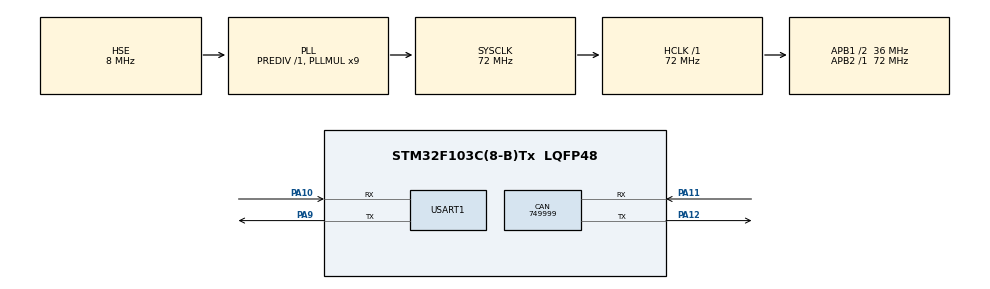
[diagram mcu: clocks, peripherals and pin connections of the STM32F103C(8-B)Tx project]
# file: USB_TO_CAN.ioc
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CAN.CalculateBaudRate=749999
CAN.CalculateTimeBit=1333
CAN.CalculateTimeQuantum=444.44444444444446
Mcu.Family=STM32F1
Mcu.Name=STM32F103C(8-B)Tx
Mcu.Package=LQFP48
NVIC.PriorityGroup=NVIC_PRIORITYGROUP_4
PA10.Mode=Asynchronous
PA10.Signal=USART1_RX
PA11.Mode=CAN_Activate
PA11.Signal=CAN_RX
PA12.Mode=CAN_Activate
PA12.Signal=CAN_TX
PA13.Mode=Serial_Wire
PA13.Signal=SYS_JTMS-SWDIO
PA14.Mode=Serial_Wire
PA14.Signal=SYS_JTCK-SWCLK
PA9.Mode=Asynchronous
PA9.Signal=USART1_TX
PC14-OSC32_IN.Mode=LSE-External-Oscillator
PC14-OSC32_IN.Signal=RCC_OSC32_IN
PC15-OSC32_OUT.Mode=LSE-External-Oscillator
PC15-OSC32_OUT.Signal=RCC_OSC32_OUT
PD0-OSC_IN.Mode=HSE-External-Oscillator
PD0-OSC_IN.Signal=RCC_OSC_IN
PD1-OSC_OUT.Mode=HSE-External-Oscillator
PD1-OSC_OUT.Signal=RCC_OSC_OUT
ProjectManager.HeapSize=0x200
ProjectManager.StackSize=0x400
ProjectManager.TargetToolchain=STM32CubeIDE
RCC.AHBFreq_Value=72000000
RCC.APB1CLKDivider=RCC_HCLK_DIV2
RCC.APB1Freq_Value=36000000
RCC.APB1TimFreq_Value=72000000
RCC.APB2Freq_Value=72000000
RCC.APB2TimFreq_Value=72000000
RCC.HCLKFreq_Value=72000000
RCC.PLLMUL=RCC_PLL_MUL9
RCC.PLLSourceVirtual=RCC_PLLSOURCE_HSE
RCC.SYSCLKFreq_VALUE=72000000
RCC.SYSCLKSource=RCC_SYSCLKSOURCE_PLLCLK
RCC.USBFreq_Value=72000000
USART1.VirtualMode=VM_ASYNC
board=custom

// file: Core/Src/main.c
/* USER CODE BEGIN Header */
/**
  ******************************************************************************
  * @file           : main.c
  * @brief          : SLCAN (LAWICEL) USB-to-CAN Adapter Firmware
  *
  * Hardware:  STM32F103C8T6 "Blue Pill"
  * UART:      USART1 PA9(TX)/PA10(RX) @ 115200 -> USB-to-TTL module
  * CAN:       CAN1 remapped to PB8(RX)/PB9(TX) -> MCP2551 transceiver
  * Clock:     72 MHz from 8 MHz HSE crystal
  *
  * Protocol:  LAWICEL/SLCAN ASCII serial protocol for slcand compatibility
  *   O\r       - Open CAN channel
  *   C\r       - Close CAN channel
  *   S[0-8]\r  - Set CAN bitrate
  *   t[III][L][DD...]\r - Transmit standard CAN frame
  *   V\r       - Version number
  *   N\r       - Serial number
  *   F\r       - Read status flags
  *
  * RX frames are forwarded as: t[III][L][DD...]\r
  ******************************************************************************
  */
/* USER CODE END Header */
#include "main.h"

/* USER CODE BEGIN Includes */
#include <string.h>
/* USER CODE END Includes */

/* USER CODE BEGIN PD */
#define SLCAN_MTU       32   /* Max command length: t + 3(ID) + 1(DLC) + 16(data) + \r + \0 */
#define SLCAN_OK        "\r"
#define SLCAN_ERR       "\a" /* BEL character = NACK per LAWICEL spec */
/* USER CODE END PD */

CAN_HandleTypeDef hcan;
UART_HandleTypeDef huart1;

/* USER CODE BEGIN PV */
static uint8_t  uart_rx_byte;              /* Single-byte interrupt RX target */
static char     slcan_buf[SLCAN_MTU];      /* Command accumulator             */
static uint8_t  slcan_idx = 0;             /* Current write position          */
static volatile uint8_t slcan_cmd_ready;   /* Flag: complete command received */
static char     slcan_cmd[SLCAN_MTU];      /* Snapshot of completed command   */
static uint8_t  can_is_open = 0;           /* CAN channel state               */

/* CAN bitrate table index set by 'S' command, applied on 'O' command.
 * Default S6 = 500 kbps. APB1 clock = 36 MHz on STM32F103 @ 72 MHz SYSCLK.
 *
 * Bit timing formula: Bitrate = APB1 / (Prescaler * (1 + BS1 + BS2))
 * All entries target ~87.5% sample point where possible.
 */
typedef struct {
  uint16_t prescaler;
  uint32_t bs1;
  uint32_t bs2;
} CAN_BitTiming_t;

static const CAN_BitTiming_t can_timings[9] = {
  /* S0:   10 kbps */ { 200, CAN_BS1_15TQ, CAN_BS2_2TQ },  /* 36M/(200*18)=10k   */
  /* S1:   20 kbps */ { 100, CAN_BS1_15TQ, CAN_BS2_2TQ },  /* 36M/(100*18)=20k   */
  /* S2:   50 kbps */ {  40, CAN_BS1_15TQ, CAN_BS2_2TQ },  /* 36M/(40*18) =50k   */
  /* S3:  100 kbps */ {  20, CAN_BS1_15TQ, CAN_BS2_2TQ },  /* 36M/(20*18) =100k  */
  /* S4:  125 kbps */ {  16, CAN_BS1_15TQ, CAN_BS2_2TQ },  /* 36M/(16*18) =125k  */
  /* S5:  250 kbps */ {   8, CAN_BS1_15TQ, CAN_BS2_2TQ },  /* 36M/(8*18)  =250k  */
  /* S6:  500 kbps */ {   4, CAN_BS1_15TQ, CAN_BS2_2TQ },  /* 36M/(4*18)  =500k  */
  /* S7:  800 kbps */ {   3, CAN_BS1_12TQ, CAN_BS2_2TQ },  /* 36M/(3*15)  =800k  */
  /* S8: 1000 kbps */ {   2, CAN_BS1_15TQ, CAN_BS2_2TQ },  /* 36M/(2*18)  =1000k */
};

static uint8_t can_speed_idx = 6; /* Default: 500 kbps */

/*---------------------------------------------------------------------------
 * CAN RX Watch List
 *
 * Commands:
 *   r[III]\r  — Register CAN ID III (3-hex-digit) for monitoring.
 *   R[III]\r  — Read latest data received on CAN ID III.
 *   u[III]\r  — Unregister CAN ID III, stop tracking it.
 *
 * Only frames whose ID is in the watch list get stored locally.
 * ALL frames are still forwarded via SLCAN text regardless.
 *---------------------------------------------------------------------------*/
#define CAN_WATCH_MAX  8   /* Max number of CAN IDs to watch simultaneously */

typedef struct {
  uint32_t id;                 /* Standard CAN ID (11-bit)          */
  uint8_t  dlc;                /* Data Length Code                  */
  uint8_t  data[8];            /* Payload bytes                     */
  volatile uint8_t fresh;      /* 1 = new data not yet consumed     */
  uint8_t  active;             /* 1 = slot is registered            */
} CAN_WatchEntry_t;

static CAN_WatchEntry_t can_watch[CAN_WATCH_MAX];
static uint8_t          can_watch_count = 0;
/* USER CODE END PV */

void SystemClock_Config(void);
static void MX_GPIO_Init(void);
static void MX_CAN_Init(void);
static void MX_USART1_UART_Init(void);

/* USER CODE BEGIN PFP */
static void SLCAN_SendStr(const char *s);
static uint8_t SLCAN_HexCharToNibble(char c, uint8_t *out);
static char    SLCAN_NibbleToHexChar(uint8_t n);
static void SLCAN_ProcessCommand(const char *cmd);
static void SLCAN_OpenChannel(void);
static void SLCAN_CloseChannel(void);
static void SLCAN_TransmitFrame(const char *cmd);
static void SLCAN_RegisterWatch(const char *cmd);
static void SLCAN_ReadWatch(const char *cmd);
static void SLCAN_UnregisterWatch(const char *cmd);
static void SLCAN_ForwardRxFrame(CAN_RxHeaderTypeDef *hdr, uint8_t *data);
static void CAN_ConfigAcceptAllFilter(void);
/* USER CODE END PFP */

/* USER CODE BEGIN 0 */

/*===========================================================================
 * UART Helper
 *===========================================================================*/
static void SLCAN_SendStr(const char *s)
{
  HAL_UART_Transmit(&huart1, (uint8_t *)s, (uint16_t)strlen(s), 50);
}

/*===========================================================================
 * Hex Conversion Utilities
 *
 * ASCII hex character -> 4-bit nibble value
 * Returns 1 on success, 0 on invalid character.
 *===========================================================================*/
static uint8_t SLCAN_HexCharToNibble(char c, uint8_t *out)
{
  if (c >= '0' && c <= '9')      { *out = (uint8_t)(c - '0');       return 1; }
  else if (c >= 'a' && c <= 'f') { *out = (uint8_t)(c - 'a' + 10); return 1; }
  else if (c >= 'A' && c <= 'F') { *out = (uint8_t)(c - 'A' + 10); return 1; }
  return 0; /* Invalid hex character */
}

/* 4-bit nibble value -> uppercase ASCII hex character */
static char SLCAN_NibbleToHexChar(uint8_t n)
{
  static const char hex[] = "0123456789ABCDEF";
  return hex[n & 0x0F];
}

/*===========================================================================
 * CAN Accept-All Filter (Mask = 0x0000 passes everything)
 *===========================================================================*/
static void CAN_ConfigAcceptAllFilter(void)
{
  CAN_FilterTypeDef f = {0};
  f.FilterBank           = 0;
  f.FilterMode           = CAN_FILTERMODE_IDMASK;
  f.FilterScale          = CAN_FILTERSCALE_32BIT;
  f.FilterIdHigh         = 0x0000;
  f.FilterIdLow          = 0x0000;
  f.FilterMaskIdHigh     = 0x0000;
  f.FilterMaskIdLow      = 0x0000;
  f.FilterFIFOAssignment = CAN_RX_FIFO0;
  f.FilterActivation     = ENABLE;
  f.SlaveStartFilterBank = 14;
  HAL_CAN_ConfigFilter(&hcan, &f);
}

/*===========================================================================
 * SLCAN Command: Open CAN Channel ('O')
 *===========================================================================*/
static void SLCAN_OpenChannel(void)
{
  if (can_is_open) { SLCAN_SendStr(SLCAN_ERR); return; }

  /* Apply the bitrate selected by the last 'S' command */
  hcan.Init.Prescaler    = can_timings[can_speed_idx].prescaler;
  hcan.Init.TimeSeg1     = can_timings[can_speed_idx].bs1;
  hcan.Init.TimeSeg2     = can_timings[can_speed_idx].bs2;
  hcan.Init.Mode         = CAN_MODE_NORMAL;
  hcan.Init.SyncJumpWidth     = CAN_SJW_1TQ;
  hcan.Init.TimeTriggeredMode = DISABLE;
  hcan.Init.AutoBusOff        = DISABLE;
  hcan.Init.AutoWakeUp        = DISABLE;
  hcan.Init.AutoRetransmission = DISABLE;
  hcan.Init.ReceiveFifoLocked  = DISABLE;
  hcan.Init.TransmitFifoPriority = DISABLE;

  if (HAL_CAN_Init(&hcan) != HAL_OK) { SLCAN_SendStr(SLCAN_ERR); return; }

  CAN_ConfigAcceptAllFilter();

  if (HAL_CAN_Start(&hcan) != HAL_OK) { SLCAN_SendStr(SLCAN_ERR); return; }

  /* Enable FIFO0 message pending interrupt */
  HAL_CAN_ActivateNotification(&hcan, CAN_IT_RX_FIFO0_MSG_PENDING);

  can_is_open = 1;
  SLCAN_SendStr(SLCAN_OK);
}

/*===========================================================================
 * SLCAN Command: Close CAN Channel ('C')
 *===========================================================================*/
static void SLCAN_CloseChannel(void)
{
  if (!can_is_open) { SLCAN_SendStr(SLCAN_ERR); return; }

  HAL_CAN_DeactivateNotification(&hcan, CAN_IT_RX_FIFO0_MSG_PENDING);
  HAL_CAN_Stop(&hcan);
  can_is_open = 0;
  SLCAN_SendStr(SLCAN_OK);
}

/*===========================================================================
 * SLCAN Command: Transmit Standard CAN Frame ('t')
 *
 * Format: t[III][L][DD...]\0   (already stripped of trailing \r)
 *   III = 3 hex digits for 11-bit Standard ID (000-7FF)
 *   L   = 1 digit DLC (0-8)
 *   DD  = L pairs of hex digits for data bytes
 *
 * Example: "t1FF8DEADBEEFCAFEBABE" ->
 *   ID=0x1FF, DLC=8, Data={0xDE,0xAD,0xBE,0xEF,0xCA,0xFE,0xBA,0xBE}
 *===========================================================================*/
static void SLCAN_TransmitFrame(const char *cmd)
{
  if (!can_is_open) { SLCAN_SendStr(SLCAN_ERR); return; }

  /* Minimum length check: 't' + 3(ID) + 1(DLC) = 5 characters */
  uint8_t len = (uint8_t)strlen(cmd);
  if (len < 5) { SLCAN_SendStr(SLCAN_ERR); return; }

  /*--- Parse the 3-digit hex Standard ID from cmd[1..3] ---*/
  uint8_t n0, n1, n2;
  if (!SLCAN_HexCharToNibble(cmd[1], &n0) ||
      !SLCAN_HexCharToNibble(cmd[2], &n1) ||
      !SLCAN_HexCharToNibble(cmd[3], &n2))
  {
    SLCAN_SendStr(SLCAN_ERR); return;
  }
  uint32_t std_id = ((uint32_t)n0 << 8) | ((uint32_t)n1 << 4) | n2;
  if (std_id > 0x7FF) { SLCAN_SendStr(SLCAN_ERR); return; }

  /*--- Parse the 1-digit DLC from cmd[4] ---*/
  uint8_t dlc = (uint8_t)(cmd[4] - '0');
  if (dlc > 8) { SLCAN_SendStr(SLCAN_ERR); return; }

  /*--- Verify total length matches: 5 + (dlc * 2) ---*/
  if (len != (uint8_t)(5 + dlc * 2)) { SLCAN_SendStr(SLCAN_ERR); return; }

  /*--- Parse data bytes from cmd[5..] two hex chars each ---*/
  uint8_t data[8] = {0};
  for (uint8_t i = 0; i < dlc; i++) {
    uint8_t hi, lo;
    if (!SLCAN_HexCharToNibble(cmd[5 + i * 2],     &hi) ||
        !SLCAN_HexCharToNibble(cmd[5 + i * 2 + 1], &lo))
    {
      SLCAN_SendStr(SLCAN_ERR); return;
    }
    data[i] = (uint8_t)((hi << 4) | lo);
  }

  /*--- Build CAN TX header and transmit ---*/
  CAN_TxHeaderTypeDef txHeader;
  txHeader.StdId              = std_id;
  txHeader.ExtId              = 0;
  txHeader.IDE                = CAN_ID_STD;
  txHeader.RTR                = CAN_RTR_DATA;
  txHeader.DLC                = dlc;
  txHeader.TransmitGlobalTime = DISABLE;

  uint32_t txMailbox;
  if (HAL_CAN_AddTxMessage(&hcan, &txHeader, data, &txMailbox) != HAL_OK) {
    SLCAN_SendStr(SLCAN_ERR);
    return;
  }

  /* 'Z\r' = successful transmit acknowledgement per LAWICEL spec */
  SLCAN_SendStr("Z\r");
}

/*===========================================================================
 * Convert a received CAN frame into LAWICEL text and send over UART
 *
 * Output format: t[III][L][DD...]\r
 * Example: ID=0x01F, DLC=3, Data={0xAB,0xCD,0xEF} -> "t01F3ABCDEF\r"
 *===========================================================================*/
static void SLCAN_ForwardRxFrame(CAN_RxHeaderTypeDef *hdr, uint8_t *data)
{
  char out[32];
  uint8_t pos = 0;

  if (hdr->IDE == CAN_ID_STD) {
    out[pos++] = 't';
    /* 3-digit hex Standard ID (zero-padded) */
    out[pos++] = SLCAN_NibbleToHexChar((uint8_t)(hdr->StdId >> 8) & 0x07);
    out[pos++] = SLCAN_NibbleToHexChar((uint8_t)(hdr->StdId >> 4) & 0x0F);
    out[pos++] = SLCAN_NibbleToHexChar((uint8_t)(hdr->StdId)      & 0x0F);
  } else {
    /* Extended frame: 'T' + 8-digit hex Extended ID */
    out[pos++] = 'T';
    for (int8_t i = 7; i >= 0; i--) {
      out[pos++] = SLCAN_NibbleToHexChar((uint8_t)(hdr->ExtId >> (i * 4)) & 0x0F);
    }
  }

  /* 1-digit DLC */
  out[pos++] = (char)('0' + (hdr->DLC & 0x0F));

  /* Data bytes as pairs of hex digits */
  for (uint8_t i = 0; i < hdr->DLC && i < 8; i++) {
    out[pos++] = SLCAN_NibbleToHexChar(data[i] >> 4);
    out[pos++] = SLCAN_NibbleToHexChar(data[i] & 0x0F);
  }

  out[pos++] = '\r';
  out[pos]   = '\0';

  SLCAN_SendStr(out);
}

/*===========================================================================
 * SLCAN Command: Register a CAN ID for local monitoring ('r')
 *
 * Format: r[III]\0   (3-digit hex Standard ID, already stripped of \r)
 * Example: "r009" -> watch CAN ID 0x009 (encoder on ODrive axis 0)
 *
 * Once registered, every frame with this ID that arrives on the bus will
 * be stored in can_watch[] so you can query it with 'R[III]'.
 * All frames are STILL forwarded via SLCAN text regardless.
 *===========================================================================*/
static void SLCAN_RegisterWatch(const char *cmd)
{
  /* Need exactly 4 chars: 'r' + 3 hex digits */
  if (strlen(cmd) != 4) { SLCAN_SendStr(SLCAN_ERR); return; }

  uint8_t n0, n1, n2;
  if (!SLCAN_HexCharToNibble(cmd[1], &n0) ||
      !SLCAN_HexCharToNibble(cmd[2], &n1) ||
      !SLCAN_HexCharToNibble(cmd[3], &n2))
  { SLCAN_SendStr(SLCAN_ERR); return; }

  uint32_t watch_id = ((uint32_t)n0 << 8) | ((uint32_t)n1 << 4) | n2;

  /* Check if already registered */
  for (uint8_t i = 0; i < CAN_WATCH_MAX; i++) {
    if (can_watch[i].active && can_watch[i].id == watch_id) {
      SLCAN_SendStr(SLCAN_OK); /* Already watching, just ACK */
      return;
    }
  }

  /* Find a free slot */
  if (can_watch_count >= CAN_WATCH_MAX) { SLCAN_SendStr(SLCAN_ERR); return; }

  for (uint8_t i = 0; i < CAN_WATCH_MAX; i++) {
    if (!can_watch[i].active) {
      can_watch[i].id     = watch_id;
      can_watch[i].dlc    = 0;
      can_watch[i].fresh  = 0;
      can_watch[i].active = 1;
      memset(can_watch[i].data, 0, 8);
      can_watch_count++;
      SLCAN_SendStr(SLCAN_OK);
      return;
    }
  }
  SLCAN_SendStr(SLCAN_ERR);
}

/*===========================================================================
 * SLCAN Command: Read latest data from a watched CAN ID ('R')
 *
 * Format: R[III]\0
 * Response on success: R[III][L][DD...]\r   (same layout as 't' frames)
 * Response if no data:  \a  (BEL / NACK)
 *
 * Example: send "R009" -> receive "R0098DEADBEEFCAFEBABE\r"
 *===========================================================================*/
static void SLCAN_ReadWatch(const char *cmd)
{
  if (strlen(cmd) != 4) { SLCAN_SendStr(SLCAN_ERR); return; }

  uint8_t n0, n1, n2;
  if (!SLCAN_HexCharToNibble(cmd[1], &n0) ||
      !SLCAN_HexCharToNibble(cmd[2], &n1) ||
      !SLCAN_HexCharToNibble(cmd[3], &n2))
  { SLCAN_SendStr(SLCAN_ERR); return; }

  uint32_t read_id = ((uint32_t)n0 << 8) | ((uint32_t)n1 << 4) | n2;

  /* Find the slot */
  for (uint8_t i = 0; i < CAN_WATCH_MAX; i++) {
    if (can_watch[i].active && can_watch[i].id == read_id) {
      if (!can_watch[i].fresh) {
        /* Registered but no data received yet */
        SLCAN_SendStr(SLCAN_ERR);
        return;
      }
      /* Build response: R[III][L][DD...]\r */
      char out[32];
      uint8_t pos = 0;
      out[pos++] = 'R';
      out[pos++] = SLCAN_NibbleToHexChar((uint8_t)(read_id >> 8) & 0x07);
      out[pos++] = SLCAN_NibbleToHexChar((uint8_t)(read_id >> 4) & 0x0F);
      out[pos++] = SLCAN_NibbleToHexChar((uint8_t)(read_id)      & 0x0F);
      out[pos++] = (char)('0' + can_watch[i].dlc);
      for (uint8_t j = 0; j < can_watch[i].dlc && j < 8; j++) {
        out[pos++] = SLCAN_NibbleToHexChar(can_watch[i].data[j] >> 4);
        out[pos++] = SLCAN_NibbleToHexChar(can_watch[i].data[j] & 0x0F);
      }
      out[pos++] = '\r';
      out[pos]   = '\0';
      can_watch[i].fresh = 0; /* Mark as consumed */
      SLCAN_SendStr(out);
      return;
    }
  }
  /* ID not in watch list */
  SLCAN_SendStr(SLCAN_ERR);
}

/*===========================================================================
 * SLCAN Command: Unregister a watched CAN ID ('u')
 *
 * Format: u[III]\0
 *===========================================================================*/
static void SLCAN_UnregisterWatch(const char *cmd)
{
  if (strlen(cmd) != 4) { SLCAN_SendStr(SLCAN_ERR); return; }

  uint8_t n0, n1, n2;
  if (!SLCAN_HexCharToNibble(cmd[1], &n0) ||
      !SLCAN_HexCharToNibble(cmd[2], &n1) ||
      !SLCAN_HexCharToNibble(cmd[3], &n2))
  { SLCAN_SendStr(SLCAN_ERR); return; }

  uint32_t unreg_id = ((uint32_t)n0 << 8) | ((uint32_t)n1 << 4) | n2;

  for (uint8_t i = 0; i < CAN_WATCH_MAX; i++) {
    if (can_watch[i].active && can_watch[i].id == unreg_id) {
      can_watch[i].active = 0;
      can_watch[i].fresh  = 0;
      can_watch_count--;
      SLCAN_SendStr(SLCAN_OK);
      return;
    }
  }
  SLCAN_SendStr(SLCAN_ERR); /* Was not registered */
}

/*===========================================================================
 * Master command dispatcher
 *===========================================================================*/
static void SLCAN_ProcessCommand(const char *cmd)
{
  if (cmd[0] == '\0') return;

  switch (cmd[0]) {
    case 'O':  /* Open CAN channel */
      SLCAN_OpenChannel();
      break;

    case 'C':  /* Close CAN channel */
      SLCAN_CloseChannel();
      break;

    case 'S':  /* Set CAN bitrate: S0..S8 */
      if (can_is_open) { SLCAN_SendStr(SLCAN_ERR); break; }
      if (cmd[1] >= '0' && cmd[1] <= '8' && cmd[2] == '\0') {
        can_speed_idx = (uint8_t)(cmd[1] - '0');
        SLCAN_SendStr(SLCAN_OK);
      } else {
        SLCAN_SendStr(SLCAN_ERR);
      }
      break;

    case 't':  /* Transmit standard CAN frame */
      SLCAN_TransmitFrame(cmd);
      break;

    case 'r':  /* Register CAN ID for local monitoring */
      SLCAN_RegisterWatch(cmd);
      break;

    case 'R':  /* Read latest data from a watched CAN ID */
      SLCAN_ReadWatch(cmd);
      break;

    case 'u':  /* Unregister a watched CAN ID */
      SLCAN_UnregisterWatch(cmd);
      break;

    case 'T':  /* Transmit extended CAN frame (not implemented) */
      SLCAN_SendStr(SLCAN_ERR);
      break;

    case 'V':  /* Hardware version */
      SLCAN_SendStr("V1010\r");
      break;

    case 'N':  /* Serial number */
      SLCAN_SendStr("NSTM32\r");
      break;

    case 'F':  /* Read status flags (return 0 = no errors) */
      SLCAN_SendStr("F00\r");
      break;

    default:   /* Unknown command */
      SLCAN_SendStr(SLCAN_ERR);
      break;
  }
}

/*===========================================================================
 * UART RX Complete Callback (interrupt-driven, 1 byte at a time)
 *
 * Accumulates characters into slcan_buf until '\r' is received.
 * On '\r', copies the buffer into slcan_cmd and sets the ready flag
 * for the main loop to process (avoids heavy work in ISR context).
 *===========================================================================*/
void HAL_UART_RxCpltCallback(UART_HandleTypeDef *huart)
{
  if (huart->Instance != USART1) return;

  if (uart_rx_byte == '\r') {
    /* Command complete - null-terminate and snapshot */
    if (slcan_idx > 0 && !slcan_cmd_ready) {
      slcan_buf[slcan_idx] = '\0';
      memcpy(slcan_cmd, slcan_buf, slcan_idx + 1);
      slcan_cmd_ready = 1;
    }
    slcan_idx = 0;
  }
  else if (uart_rx_byte != '\n') {
    /* Accumulate character with overflow guard */
    if (slcan_idx < SLCAN_MTU - 1) {
      slcan_buf[slcan_idx++] = (char)uart_rx_byte;
    } else {
      /* Buffer overflow - discard this command */
      slcan_idx = 0;
    }
  }
  /* else: ignore \n characters */

  /* Re-arm the single-byte interrupt reception */
  HAL_UART_Receive_IT(&huart1, &uart_rx_byte, 1);
}

/*===========================================================================
 * CAN RX FIFO0 Message Pending Callback
 *
 * Called from ISR when a CAN frame arrives.  Two things happen:
 *   1) The frame is forwarded as LAWICEL text over UART (for slcand).
 *   2) If the frame's ID is in the watch list (registered via 'r[III]'),
 *      the data is stored locally so it can be queried with 'R[III]'.
 *===========================================================================*/
void HAL_CAN_RxFifo0MsgPendingCallback(CAN_HandleTypeDef *hcan_irq)
{
  CAN_RxHeaderTypeDef rxHeader;
  uint8_t             rxData[8];

  if (HAL_CAN_GetRxMessage(hcan_irq, CAN_RX_FIFO0, &rxHeader, rxData) != HAL_OK)
    return;

  /* --- 1) Forward ALL frames to host as SLCAN text --- */
  SLCAN_ForwardRxFrame(&rxHeader, rxData);

  /* --- 2) Store only if this ID is in the watch list --- */
  if (can_watch_count == 0) return; /* Nothing registered, skip search */

  uint32_t rx_id = (rxHeader.IDE == CAN_ID_STD) ? rxHeader.StdId : rxHeader.ExtId;

  for (uint8_t i = 0; i < CAN_WATCH_MAX; i++) {
    if (can_watch[i].active && can_watch[i].id == rx_id) {
      can_watch[i].dlc = (uint8_t)rxHeader.DLC;
      for (uint8_t j = 0; j < rxHeader.DLC && j < 8; j++)
        can_watch[i].data[j] = rxData[j];
      can_watch[i].fresh = 1;
      break;
    }
  }
}
/* USER CODE END 0 */

int main(void)
{

  /* MCU Configuration--------------------------------------------------------*/
  HAL_Init();

  /* Configure the system clock */
  SystemClock_Config();

  /* Initialize all configured peripherals */
  MX_GPIO_Init();
  MX_CAN_Init();
  MX_USART1_UART_Init();

  /* USER CODE BEGIN 2 */
  /* Kick off interrupt-driven single-byte UART reception */
  HAL_UART_Receive_IT(&huart1, &uart_rx_byte, 1);
  /* USER CODE END 2 */

  /* Infinite loop */
  while (1)
  {

    /* USER CODE BEGIN 3 */
    /* Check if UART ISR has assembled a complete SLCAN command */
    if (slcan_cmd_ready) {
      SLCAN_ProcessCommand(slcan_cmd);
      slcan_cmd_ready = 0;
    }
  }
  /* USER CODE END 3 */
}

void SystemClock_Config(void)
{
  RCC_OscInitTypeDef RCC_OscInitStruct = {0};
  RCC_ClkInitTypeDef RCC_ClkInitStruct = {0};

  RCC_OscInitStruct.OscillatorType = RCC_OSCILLATORTYPE_HSE;
  RCC_OscInitStruct.HSEState = RCC_HSE_ON;
  RCC_OscInitStruct.HSEPredivValue = RCC_HSE_PREDIV_DIV1;
  RCC_OscInitStruct.HSIState = RCC_HSI_ON;
  RCC_OscInitStruct.PLL.PLLState = RCC_PLL_ON;
  RCC_OscInitStruct.PLL.PLLSource = RCC_PLLSOURCE_HSE;
  RCC_OscInitStruct.PLL.PLLMUL = RCC_PLL_MUL9;
  if (HAL_RCC_OscConfig(&RCC_OscInitStruct) != HAL_OK)
  {
    Error_Handler();
  }

  RCC_ClkInitStruct.ClockType = RCC_CLOCKTYPE_HCLK|RCC_CLOCKTYPE_SYSCLK
                              |RCC_CLOCKTYPE_PCLK1|RCC_CLOCKTYPE_PCLK2;
  RCC_ClkInitStruct.SYSCLKSource = RCC_SYSCLKSOURCE_PLLCLK;
  RCC_ClkInitStruct.AHBCLKDivider = RCC_SYSCLK_DIV1;
  RCC_ClkInitStruct.APB1CLKDivider = RCC_HCLK_DIV2;   /* 36 MHz */
  RCC_ClkInitStruct.APB2CLKDivider = RCC_HCLK_DIV1;   /* 72 MHz */

  if (HAL_RCC_ClockConfig(&RCC_ClkInitStruct, FLASH_LATENCY_2) != HAL_OK)
  {
    Error_Handler();
  }
}

static void MX_CAN_Init(void)
{

  hcan.Instance = CAN1;
  hcan.Init.Prescaler = can_timings[can_speed_idx].prescaler;
  hcan.Init.Mode = CAN_MODE_NORMAL;
  hcan.Init.SyncJumpWidth = CAN_SJW_1TQ;
  hcan.Init.TimeSeg1 = can_timings[can_speed_idx].bs1;
  hcan.Init.TimeSeg2 = can_timings[can_speed_idx].bs2;
  hcan.Init.TimeTriggeredMode = DISABLE;
  hcan.Init.AutoBusOff = DISABLE;
  hcan.Init.AutoWakeUp = DISABLE;
  hcan.Init.AutoRetransmission = DISABLE;
  hcan.Init.ReceiveFifoLocked = DISABLE;
  hcan.Init.TransmitFifoPriority = DISABLE;
  if (HAL_CAN_Init(&hcan) != HAL_OK)
  {
    Error_Handler();
  }
  /* USER CODE BEGIN CAN_Init 2 */
  /* NOTE: CAN is NOT started here. The 'O' command starts it. */
  /* USER CODE END CAN_Init 2 */
}

static void MX_USART1_UART_Init(void)
{

  huart1.Instance = USART1;
  huart1.Init.BaudRate = 115200;
  huart1.Init.WordLength = UART_WORDLENGTH_8B;
  huart1.Init.StopBits = UART_STOPBITS_1;
  huart1.Init.Parity = UART_PARITY_NONE;
  huart1.Init.Mode = UART_MODE_TX_RX;
  huart1.Init.HwFlowCtl = UART_HWCONTROL_NONE;
  huart1.Init.OverSampling = UART_OVERSAMPLING_16;
  if (HAL_UART_Init(&huart1) != HAL_OK)
  {
    Error_Handler();
  }
}

static void MX_GPIO_Init(void)
{

  /* GPIO Ports Clock Enable */
  __HAL_RCC_GPIOC_CLK_ENABLE();
  __HAL_RCC_GPIOD_CLK_ENABLE();
  __HAL_RCC_GPIOA_CLK_ENABLE();
  __HAL_RCC_GPIOB_CLK_ENABLE();

}

void Error_Handler(void)
{
  __disable_irq();
  while (1)
  {
  }
}

#ifdef USE_FULL_ASSERT
void assert_failed(uint8_t *file, uint32_t line)
{
  /* USER CODE BEGIN 6 */
  (void)file; (void)line;
  /* USER CODE END 6 */
}
#endif /* USE_FULL_ASSERT */
